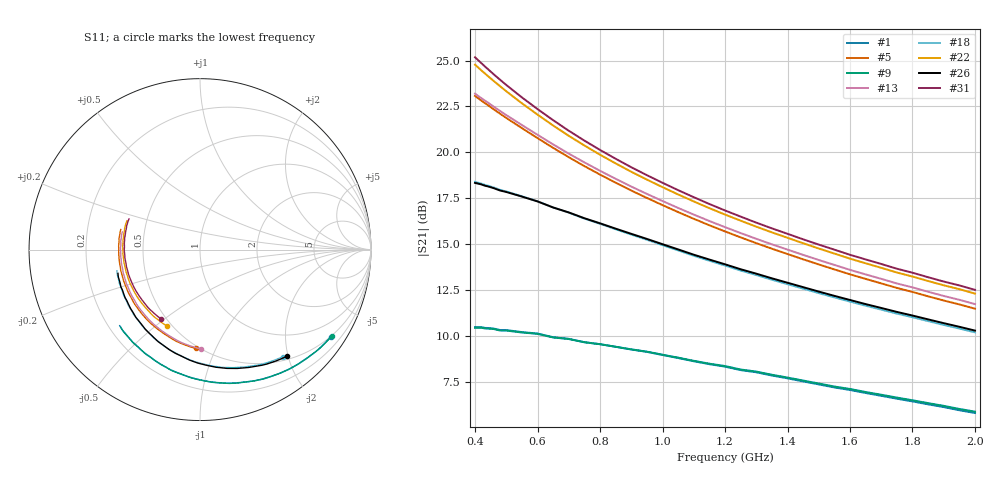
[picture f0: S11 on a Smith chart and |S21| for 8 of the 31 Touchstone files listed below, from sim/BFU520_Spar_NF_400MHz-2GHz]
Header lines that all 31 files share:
! Noise Parameter Data File
! Device data file deembeded for feedlines and parallel
! Feed-files: PR047V01_250413_Feed1.s2p, PR047V01_250413_Feed2.s2p
! Parallel-file: PR047V01_250413_Par.s2p
# MHz S MA R 50
!  Freq-MHz  S11-mag  S11-arg  S21-mag  S21-arg  S12-mag  S12-arg  S22-mag  S22-arg
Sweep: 400 MHz to 2 GHz
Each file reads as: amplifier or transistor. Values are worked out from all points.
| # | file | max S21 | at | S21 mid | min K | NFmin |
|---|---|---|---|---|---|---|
| 1 | BFU520_03V3_001mA_NF_SP.s2p | 10.5 dB | 400 MHz | 8.6 dB at 1.1 GHz | 0.11 | 0.39 dB |
| 2 | BFU520_03V3_002mA_NF_SP.s2p | 15.6 dB | 400 MHz | 12.5 dB at 1.1 GHz | 0.14 | 0.53 dB |
| 3 | BFU520_03V3_003mA_NF_SP.s2p | 18.4 dB | 400 MHz | 14.2 dB at 1.1 GHz | 0.18 | 0.56 dB |
| 4 | BFU520_03V3_005mA_NF_SP.s2p | 21.2 dB | 400 MHz | 15.6 dB at 1.1 GHz | 0.25 | 0.65 dB |
| 5 | BFU520_03V3_008mA_NF_SP.s2p | 23.1 dB | 400 MHz | 16.4 dB at 1.1 GHz | 0.35 | 0.78 dB |
| 6 | BFU520_03V3_010mA_NF_SP.s2p | 23.6 dB | 400 MHz | 16.5 dB at 1.1 GHz | 0.41 | 0.85 dB |
| 7 | BFU520_03V3_015mA_NF_SP.s2p | 24.0 dB | 400 MHz | 16.3 dB at 1.1 GHz | 0.53 | 1.01 dB |
| 8 | BFU520_03V3_020mA_NF_SP.s2p | 23.3 dB | 400 MHz | 15.2 dB at 1.1 GHz | 0.63 | 1.14 dB |
| 9 | BFU520_05V0_001mA_NF_SP.s2p | 10.4 dB | 400 MHz | 8.6 dB at 1.1 GHz | 0.11 | 0.39 dB |
| 10 | BFU520_05V0_002mA_NF_SP.s2p | 15.7 dB | 400 MHz | 12.6 dB at 1.1 GHz | 0.14 | 0.51 dB |
| 11 | BFU520_05V0_003mA_NF_SP.s2p | 18.4 dB | 400 MHz | 14.3 dB at 1.1 GHz | 0.18 | 0.57 dB |
| 12 | BFU520_05V0_005mA_NF_SP.s2p | 21.3 dB | 400 MHz | 15.8 dB at 1.1 GHz | 0.25 | 0.67 dB |
| 13 | BFU520_05V0_008mA_NF_SP.s2p | 23.2 dB | 400 MHz | 16.6 dB at 1.1 GHz | 0.34 | 0.79 dB |
| 14 | BFU520_05V0_015mA_NF_SP.s2p | 24.5 dB | 400 MHz | 16.9 dB at 1.1 GHz | 0.51 | 1.01 dB |
| 15 | BFU520_05V0_020mA_NF_SP.s2p | 24.4 dB | 400 MHz | 16.6 dB at 1.1 GHz | 0.60 | 1.16 dB |
| 16 | BFU520_08V0_001mA_NF_SP.s2p | 10.4 dB | 400 MHz | 8.7 dB at 1.1 GHz | 0.11 | 0.39 dB |
| 17 | BFU520_08V0_002mA_NF_SP.s2p | 15.7 dB | 400 MHz | 12.6 dB at 1.1 GHz | 0.14 | 0.54 dB |
| 18 | BFU520_08V0_003mA_NF_SP.s2p | 18.4 dB | 400 MHz | 14.4 dB at 1.1 GHz | 0.18 | 0.58 dB |
| 19 | BFU520_08V0_005mA_NF_SP.s2p | 21.3 dB | 400 MHz | 15.9 dB at 1.1 GHz | 0.25 | 0.67 dB |
| 20 | BFU520_08V0_008mA_NF_SP.s2p | 23.3 dB | 400 MHz | 16.8 dB at 1.1 GHz | 0.34 | 0.80 dB |
| 21 | BFU520_08V0_010mA_NF_SP.s2p | 23.9 dB | 400 MHz | 17.1 dB at 1.1 GHz | 0.39 | 0.87 dB |
| 22 | BFU520_08V0_015mA_NF_SP.s2p | 24.8 dB | 400 MHz | 17.3 dB at 1.1 GHz | 0.49 | 1.02 dB |
| 23 | BFU520_08V0_020mA_NF_SP.s2p | 25.0 dB | 400 MHz | 17.3 dB at 1.1 GHz | 0.57 | 1.18 dB |
| 24 | BFU520_12V0_001mA_NF_SP.s2p | 10.4 dB | 420 MHz | 8.7 dB at 1.1 GHz | 0.11 | 0.36 dB |
| 25 | BFU520_12V0_002mA_NF_SP.s2p | 15.6 dB | 400 MHz | 12.7 dB at 1.1 GHz | 0.14 | 0.58 dB |
| 26 | BFU520_12V0_003mA_NF_SP.s2p | 18.3 dB | 400 MHz | 14.4 dB at 1.1 GHz | 0.18 | 0.61 dB |
| 27 | BFU520_12V0_005mA_NF_SP.s2p | 21.3 dB | 400 MHz | 16.0 dB at 1.1 GHz | 0.25 | 0.69 dB |
| 28 | BFU520_12V0_008mA_NF_SP.s2p | 23.3 dB | 400 MHz | 16.9 dB at 1.1 GHz | 0.33 | 0.82 dB |
| 29 | BFU520_12V0_010mA_NF_SP.s2p | 24.0 dB | 400 MHz | 17.2 dB at 1.1 GHz | 0.38 | 0.91 dB |
| 30 | BFU520_12V0_015mA_NF_SP.s2p | 24.8 dB | 400 MHz | 17.5 dB at 1.1 GHz | 0.48 | 1.07 dB |
| 31 | BFU520_12V0_020mA_NF_SP.s2p | 25.2 dB | 400 MHz | 17.6 dB at 1.1 GHz | 0.55 | 1.23 dB |
